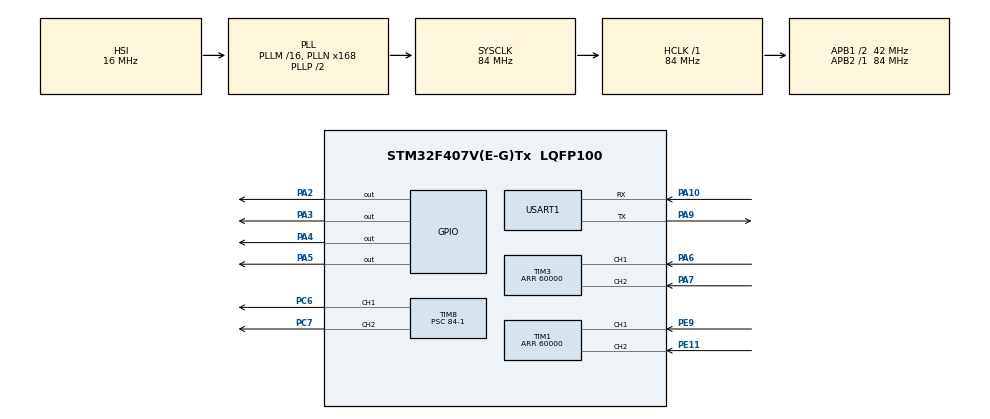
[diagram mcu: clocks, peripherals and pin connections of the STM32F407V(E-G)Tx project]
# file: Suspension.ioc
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Mcu.Family=STM32F4
Mcu.Name=STM32F407V(E-G)Tx
Mcu.Package=LQFP100
NVIC.PriorityGroup=NVIC_PRIORITYGROUP_2
NVIC.TIM1_UP_TIM10_IRQn=true\:0\:1\:true\:false\:true\:true\:true
NVIC.TIM3_IRQn=true\:0\:1\:true\:false\:true\:true\:true
NVIC.TIM8_UP_TIM13_IRQn=true\:1\:1\:true\:false\:true\:true\:true
NVIC.USART1_IRQn=true\:0\:0\:true\:false\:true\:true\:true
PA10.Mode=Asynchronous
PA10.Signal=USART1_RX
PA2.GPIO_PuPd=GPIO_NOPULL
PA2.GPIO_Speed=GPIO_SPEED_FREQ_HIGH
PA2.PinState=GPIO_PIN_RESET
PA2.Signal=GPIO_Output
PA3.GPIO_PuPd=GPIO_NOPULL
PA3.GPIO_Speed=GPIO_SPEED_FREQ_HIGH
PA3.Signal=GPIO_Output
PA4.GPIO_Speed=GPIO_SPEED_FREQ_HIGH
PA4.Signal=GPIO_Output
PA5.GPIO_Speed=GPIO_SPEED_FREQ_HIGH
PA5.Signal=GPIO_Output
PA6.Signal=S_TIM3_CH1
PA7.Signal=S_TIM3_CH2
PA9.Mode=Asynchronous
PA9.Signal=USART1_TX
PC6.Signal=S_TIM8_CH1
PC7.Signal=S_TIM8_CH2
PE11.Signal=S_TIM1_CH2
PE9.Signal=S_TIM1_CH1
ProjectManager.HeapSize=0x200
ProjectManager.StackSize=0x400
ProjectManager.TargetToolchain=MDK-ARM V5
RCC.48MHZClocksFreq_Value=42000000
RCC.AHBFreq_Value=84000000
RCC.APB1CLKDivider=RCC_HCLK_DIV2
RCC.APB1Freq_Value=42000000
RCC.APB1TimFreq_Value=84000000
RCC.APB2Freq_Value=84000000
RCC.APB2TimFreq_Value=84000000
RCC.CortexFreq_Value=84000000
RCC.HCLKFreq_Value=84000000
RCC.HSE_VALUE=25000000
RCC.HSI_VALUE=16000000
RCC.LSE_VALUE=32768
RCC.PLLN=168
RCC.SYSCLKFreq_VALUE=84000000
RCC.SYSCLKSource=RCC_SYSCLKSOURCE_PLLCLK
RCC.VCOOutputFreq_Value=168000000
SH.S_TIM1_CH1.0=TIM1_CH1,Encoder_Interface
SH.S_TIM1_CH2.0=TIM1_CH2,Encoder_Interface
SH.S_TIM3_CH1.0=TIM3_CH1,Encoder_Interface
SH.S_TIM3_CH2.0=TIM3_CH2,Encoder_Interface
SH.S_TIM8_CH1.0=TIM8_CH1,PWM Generation1 CH1
SH.S_TIM8_CH2.0=TIM8_CH2,PWM Generation2 CH2
TIM1.EncoderMode=TIM_ENCODERMODE_TI12
TIM1.Period=60000
TIM13.Period=20000
TIM13.Prescaler=84-1
TIM3.EncoderMode=TIM_ENCODERMODE_TI12
TIM3.Period=60000
TIM8.Channel-PWM\ Generation1\ CH1=TIM_CHANNEL_1
TIM8.Channel-PWM\ Generation2\ CH2=TIM_CHANNEL_2
TIM8.Period=1000
TIM8.Prescaler=84-1
USART1.VirtualMode=VM_ASYNC
VP_TIM13_VS_ClockSourceINT.Mode=Enable_Timer
board=custom

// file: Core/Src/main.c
/* USER CODE BEGIN Header */
/**
  ******************************************************************************
  * @file           : main.c
  * @brief          : Main program body
  ******************************************************************************
  * @attention
  *
  * <h2><center>&copy; Copyright (c) 2022 STMicroelectronics.
  * All rights reserved.</center></h2>
  *
  * This software component is licensed by ST under BSD 3-Clause license,
  * the "License"; You may not use this file except in compliance with the
  * License. You may obtain a copy of the License at:
  *                        opensource.org/licenses/BSD-3-Clause
  *
  ******************************************************************************
  */
/* USER CODE END Header */
#include "main.h"
#include "tim.h"
#include "usart.h"
#include "gpio.h"

/* USER CODE BEGIN Includes */
#include "motor.h"
#include "pid.h"
#include "uartPack.h"
#include <stdio.h>
/* USER CODE END Includes */

/* USER CODE BEGIN PV */
uart_o_ctrl_t uart_1;
/* USER CODE END PV */

void SystemClock_Config(void);

int main(void)
{

  /* MCU Configuration--------------------------------------------------------*/

  /* Reset of all peripherals, Initializes the Flash interface and the Systick. */
  HAL_Init();

  /* USER CODE BEGIN Init */
  uint32_t sys_old_clock = HAL_GetTick();
  uint32_t sys_now_clock;
  /* USER CODE END Init */

  /* Configure the system clock */
  SystemClock_Config();

  /* Initialize all configured peripherals */
  MX_GPIO_Init();
  MX_TIM1_Init();
  MX_TIM3_Init();
  MX_TIM8_Init();
  MX_TIM13_Init();
  MX_USART1_UART_Init();
  /* USER CODE BEGIN 2 */
  PWM_Encoder_Start();
  Enable_Uart_O_Control(&huart1,&uart_1);
  Motor_Init(0, 0, 1.1597, 1.4916);
  PID_Init(&motor1.pid.inner,5.1,0.258,0,100,1000);
  PID_Init(&motor1.pid.outer,0.3,0,0.2,100,1000);
  PID_Init(&motor2.pid.inner,5.1,0.258,0,100,1000);
  PID_Init(&motor2.pid.outer,0.3,0,0.2,100,1000);
  printf("...");
  /* USER CODE END 2 */

  /* Infinite loop */
  /* USER CODE BEGIN WHILE */
  //Line_Control(0.5, 0.5);
  //motor1.targetAngle = motor1.totalAngle;
  while (1)
  {
    sys_now_clock = HAL_GetTick();
    if(sys_now_clock - sys_old_clock >= 40){
      Angle_Test1();
      sys_old_clock = HAL_GetTick();
    }
    /* USER CODE END WHILE */

  }
}

void SystemClock_Config(void)
{
  RCC_OscInitTypeDef RCC_OscInitStruct = {0};
  RCC_ClkInitTypeDef RCC_ClkInitStruct = {0};

  /** Configure the main internal regulator output voltage
  */
  __HAL_RCC_PWR_CLK_ENABLE();
  __HAL_PWR_VOLTAGESCALING_CONFIG(PWR_REGULATOR_VOLTAGE_SCALE1);
  /** Initializes the RCC Oscillators according to the specified parameters
  * in the RCC_OscInitTypeDef structure.
  */
  RCC_OscInitStruct.OscillatorType = RCC_OSCILLATORTYPE_HSI;
  RCC_OscInitStruct.HSIState = RCC_HSI_ON;
  RCC_OscInitStruct.HSICalibrationValue = RCC_HSICALIBRATION_DEFAULT;
  RCC_OscInitStruct.PLL.PLLState = RCC_PLL_ON;
  RCC_OscInitStruct.PLL.PLLSource = RCC_PLLSOURCE_HSI;
  RCC_OscInitStruct.PLL.PLLM = 16;
  RCC_OscInitStruct.PLL.PLLN = 168;
  RCC_OscInitStruct.PLL.PLLP = RCC_PLLP_DIV2;
  RCC_OscInitStruct.PLL.PLLQ = 4;
  if (HAL_RCC_OscConfig(&RCC_OscInitStruct) != HAL_OK)
  {
    Error_Handler();
  }
  /** Initializes the CPU, AHB and APB buses clocks
  */
  RCC_ClkInitStruct.ClockType = RCC_CLOCKTYPE_HCLK|RCC_CLOCKTYPE_SYSCLK
                              |RCC_CLOCKTYPE_PCLK1|RCC_CLOCKTYPE_PCLK2;
  RCC_ClkInitStruct.SYSCLKSource = RCC_SYSCLKSOURCE_PLLCLK;
  RCC_ClkInitStruct.AHBCLKDivider = RCC_SYSCLK_DIV1;
  RCC_ClkInitStruct.APB1CLKDivider = RCC_HCLK_DIV2;
  RCC_ClkInitStruct.APB2CLKDivider = RCC_HCLK_DIV1;

  if (HAL_RCC_ClockConfig(&RCC_ClkInitStruct, FLASH_LATENCY_2) != HAL_OK)
  {
    Error_Handler();
  }
}

/* USER CODE BEGIN 4 */
void HAL_UART_TxCpltCallback(UART_HandleTypeDef *huart){
  if(huart->Instance == USART1){
  }
}
void HAL_UART_RxCpltCallback(UART_HandleTypeDef *huart){
  if(huart->Instance == USART1){
    Uart_O_Data_Process(&huart1,&uart_1);
  }
}
/* USER CODE END 4 */

void Error_Handler(void)
{
  __disable_irq();
  while (1)
  {
  }
}

/************************ (C) COPYRIGHT STMicroelectronics *****END OF FILE****/
